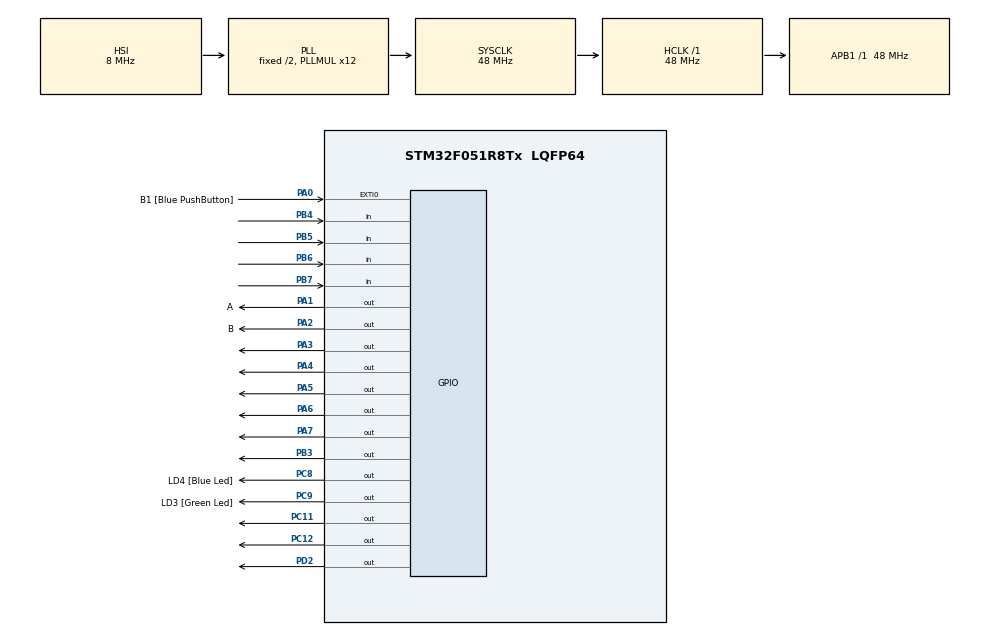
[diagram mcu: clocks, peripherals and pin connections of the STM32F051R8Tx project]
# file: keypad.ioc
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Mcu.Family=STM32F0
Mcu.Name=STM32F051R8Tx
Mcu.Package=LQFP64
PA0.GPIO_Label=B1 [Blue PushButton]
PA0.GPIO_ModeDefaultEXTI=GPIO_MODE_EVT_RISING
PA0.Signal=GPXTI0
PA1.GPIO_Label=A
PA1.PinState=GPIO_PIN_RESET
PA1.Signal=GPIO_Output
PA13.GPIO_Label=SWDIO
PA13.Signal=SYS_SWDIO
PA14.GPIO_Label=SWCLK
PA14.Signal=SYS_SWCLK
PA2.GPIO_Label=B
PA2.PinState=GPIO_PIN_RESET
PA2.Signal=GPIO_Output
PA3.PinState=GPIO_PIN_RESET
PA3.Signal=GPIO_Output
PA4.PinState=GPIO_PIN_RESET
PA4.Signal=GPIO_Output
PA5.PinState=GPIO_PIN_RESET
PA5.Signal=GPIO_Output
PA6.PinState=GPIO_PIN_RESET
PA6.Signal=GPIO_Output
PA7.PinState=GPIO_PIN_RESET
PA7.Signal=GPIO_Output
PB3.GPIO_PuPd=GPIO_PULLUP
PB3.Signal=GPIO_Output
PB4.GPIO_PuPd=GPIO_PULLUP
PB4.Signal=GPIO_Input
PB5.GPIO_PuPd=GPIO_PULLUP
PB5.Signal=GPIO_Input
PB6.GPIO_PuPd=GPIO_PULLUP
PB6.Signal=GPIO_Input
PB7.GPIO_PuPd=GPIO_PULLUP
PB7.Signal=GPIO_Input
PC11.GPIO_PuPd=GPIO_PULLUP
PC11.Signal=GPIO_Output
PC12.GPIO_PuPd=GPIO_PULLUP
PC12.Signal=GPIO_Output
PC8.GPIO_Label=LD4 [Blue Led]
PC8.Signal=GPIO_Output
PC9.GPIO_Label=LD3 [Green Led]
PC9.Signal=GPIO_Output
PD2.GPIO_PuPd=GPIO_PULLUP
PD2.Signal=GPIO_Output
ProjectManager.HeapSize=0x200
ProjectManager.StackSize=0x400
ProjectManager.TargetToolchain=STM32CubeIDE
RCC.AHBFreq_Value=48000000
RCC.APB1Freq_Value=48000000
RCC.APB1TimFreq_Value=48000000
RCC.HCLKFreq_Value=48000000
RCC.PLLMUL=RCC_PLL_MUL12
RCC.SYSCLKFreq_VALUE=48000000
RCC.SYSCLKSource=RCC_SYSCLKSOURCE_PLLCLK
board=STM32F0DISCOVERY

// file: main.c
/* USER CODE BEGIN Header */
/**
  ******************************************************************************
  * @file           : main.c
  * @brief          : Main program body
  ******************************************************************************
  * @attention
  *
  * Copyright (c) 2023 STMicroelectronics.
  * All rights reserved.
  *
  * This software is licensed under terms that can be found in the LICENSE file
  * in the root directory of this software component.
  * If no LICENSE file comes with this software, it is provided AS-IS.
  *
  ******************************************************************************
  */
/* USER CODE END Header */
#include "main.h"

void SystemClock_Config(void);
static void MX_GPIO_Init(void);

int main(void)
{
  /* USER CODE BEGIN 1 */
//int c=0;
	int c;
  /* USER CODE END 1 */

  /* MCU Configuration--------------------------------------------------------*/

  /* Reset of all peripherals, Initializes the Flash interface and the Systick. */
  HAL_Init();

  /* Configure the system clock */
  SystemClock_Config();

  /* Initialize all configured peripherals */
  MX_GPIO_Init();

  /* Infinite loop */
  while (1)
  {

    /* USER CODE BEGIN 3 */

	////   0
	  HAL_GPIO_WritePin(GPIOB, GPIO_PIN_3, GPIO_PIN_RESET);

	 if(HAL_GPIO_ReadPin(GPIOB, GPIO_PIN_7)==0) {
		c=1;
	  }
	 else if(HAL_GPIO_ReadPin(GPIOB, GPIO_PIN_6)==0) {
			c=4;
		  }
	 else if(HAL_GPIO_ReadPin(GPIOB, GPIO_PIN_5)==0) {
			c=7;
		  }
	/*if(HAL_GPIO_ReadPin(GPIOB, GPIO_Pin_4)==0) {
			c=1;
		  }*/
	HAL_GPIO_WritePin(GPIOB, GPIO_PIN_3, GPIO_PIN_SET);

	  HAL_GPIO_WritePin(GPIOD, GPIO_PIN_2, GPIO_PIN_RESET);
		 if(HAL_GPIO_ReadPin(GPIOB, GPIO_PIN_7)==0) {
			c=2;
		  }
		if(HAL_GPIO_ReadPin(GPIOB, GPIO_PIN_6)==0) {
				c=5;
			  }
		else if(HAL_GPIO_ReadPin(GPIOB, GPIO_PIN_5)==0) {
				c=8;
			  }
		else if(HAL_GPIO_ReadPin(GPIOB, GPIO_PIN_4)==0) {
				c=0;
			  }
		HAL_GPIO_WritePin(GPIOD, GPIO_PIN_2, GPIO_PIN_SET);

	  HAL_GPIO_WritePin(GPIOC, GPIO_PIN_12, GPIO_PIN_RESET);
	  if(HAL_GPIO_ReadPin(GPIOB, GPIO_PIN_7)==0) {
	 			c=3;
	 		  }
	  else if(HAL_GPIO_ReadPin(GPIOB, GPIO_PIN_6)==0) {
	 				c=6;
	 			  }
	  else if(HAL_GPIO_ReadPin(GPIOB, GPIO_PIN_5)==0) {
	 				c=9;
	 			  }
	 		/*if(HAL_GPIO_ReadPin(GPIOB, GPIO_Pin_4)==0) {
	 				c=0;
	 			  }*/
	 		HAL_GPIO_WritePin(GPIOC, GPIO_PIN_12, GPIO_PIN_SET);
/*	if(c>9){
		c=0;
	}*/
	switch(c){
	case 0:

    HAL_GPIO_WritePin(GPIOA, GPIO_PIN_1, GPIO_PIN_SET);
    HAL_GPIO_WritePin(GPIOA, GPIO_PIN_2, GPIO_PIN_SET);
    HAL_GPIO_WritePin(GPIOA, GPIO_PIN_3, GPIO_PIN_SET);
    HAL_GPIO_WritePin(GPIOA, GPIO_PIN_4, GPIO_PIN_SET);
    HAL_GPIO_WritePin(GPIOA, GPIO_PIN_5, GPIO_PIN_SET);
    HAL_GPIO_WritePin(GPIOA, GPIO_PIN_6, GPIO_PIN_SET);
    HAL_GPIO_WritePin(GPIOA, GPIO_PIN_7, GPIO_PIN_RESET);

    break;
    //////  1
  //
	case 1:
	   HAL_GPIO_WritePin(GPIOA, GPIO_PIN_1, GPIO_PIN_RESET);
       HAL_GPIO_WritePin(GPIOA, GPIO_PIN_2, GPIO_PIN_SET);
       HAL_GPIO_WritePin(GPIOA, GPIO_PIN_3, GPIO_PIN_SET);
       HAL_GPIO_WritePin(GPIOA, GPIO_PIN_4, GPIO_PIN_RESET);
       HAL_GPIO_WritePin(GPIOA, GPIO_PIN_5, GPIO_PIN_RESET);
       HAL_GPIO_WritePin(GPIOA, GPIO_PIN_6, GPIO_PIN_RESET);
       HAL_GPIO_WritePin(GPIOA, GPIO_PIN_7, GPIO_PIN_RESET);

       break;
       ///////   2
	case 2:

       HAL_GPIO_WritePin(GPIOA, GPIO_PIN_1, GPIO_PIN_SET);
          HAL_GPIO_WritePin(GPIOA, GPIO_PIN_2, GPIO_PIN_SET);
      HAL_GPIO_WritePin(GPIOA, GPIO_PIN_3, GPIO_PIN_RESET);
          HAL_GPIO_WritePin(GPIOA, GPIO_PIN_4, GPIO_PIN_SET);
          HAL_GPIO_WritePin(GPIOA, GPIO_PIN_5, GPIO_PIN_SET);
        HAL_GPIO_WritePin(GPIOA, GPIO_PIN_6, GPIO_PIN_RESET);
          HAL_GPIO_WritePin(GPIOA, GPIO_PIN_7, GPIO_PIN_SET);

          break;
          //////          3
	case 3:
          HAL_GPIO_WritePin(GPIOA, GPIO_PIN_1, GPIO_PIN_SET);
                   HAL_GPIO_WritePin(GPIOA, GPIO_PIN_2, GPIO_PIN_SET);
                  HAL_GPIO_WritePin(GPIOA, GPIO_PIN_3, GPIO_PIN_SET);
                   HAL_GPIO_WritePin(GPIOA, GPIO_PIN_4, GPIO_PIN_SET);
                  HAL_GPIO_WritePin(GPIOA, GPIO_PIN_5, GPIO_PIN_RESET);
                 HAL_GPIO_WritePin(GPIOA, GPIO_PIN_6, GPIO_PIN_RESET);
                   HAL_GPIO_WritePin(GPIOA, GPIO_PIN_7, GPIO_PIN_SET);

                   break;
    //HAL_GPIO_WritePin(GPIOA, GPIO_PIN_7, GPIO_PIN_SET);
   // HAL_GPIO_WritePin(GPIOA, GPIO_PIN, GPIO_PIN_RESET);
        /////     4
		//HAL_GPIO_WritePin(GPIOA, GPIO_PIN_1, GPIO_PIN_SET);
	case 4:
		HAL_GPIO_WritePin(GPIOA, GPIO_PIN_1, GPIO_PIN_RESET);
		HAL_GPIO_WritePin(GPIOA, GPIO_PIN_2, GPIO_PIN_SET);
        HAL_GPIO_WritePin(GPIOA, GPIO_PIN_3, GPIO_PIN_SET);
	    HAL_GPIO_WritePin(GPIOA, GPIO_PIN_4, GPIO_PIN_RESET);
		HAL_GPIO_WritePin(GPIOA, GPIO_PIN_5, GPIO_PIN_RESET);
	    HAL_GPIO_WritePin(GPIOA, GPIO_PIN_6, GPIO_PIN_SET);
		HAL_GPIO_WritePin(GPIOA, GPIO_PIN_7, GPIO_PIN_SET);

        break;
	case 5:
		HAL_GPIO_WritePin(GPIOA, GPIO_PIN_1, GPIO_PIN_SET);
		HAL_GPIO_WritePin(GPIOA, GPIO_PIN_2, GPIO_PIN_RESET);
		HAL_GPIO_WritePin(GPIOA, GPIO_PIN_3, GPIO_PIN_SET);
		HAL_GPIO_WritePin(GPIOA, GPIO_PIN_4, GPIO_PIN_SET);
		HAL_GPIO_WritePin(GPIOA, GPIO_PIN_5, GPIO_PIN_RESET);
		HAL_GPIO_WritePin(GPIOA, GPIO_PIN_6, GPIO_PIN_SET);
		HAL_GPIO_WritePin(GPIOA, GPIO_PIN_7, GPIO_PIN_SET);

		break;
	case 6:
			HAL_GPIO_WritePin(GPIOA, GPIO_PIN_1, GPIO_PIN_SET);
			HAL_GPIO_WritePin(GPIOA, GPIO_PIN_2, GPIO_PIN_RESET);
			HAL_GPIO_WritePin(GPIOA, GPIO_PIN_3, GPIO_PIN_SET);
			HAL_GPIO_WritePin(GPIOA, GPIO_PIN_4, GPIO_PIN_SET);
			HAL_GPIO_WritePin(GPIOA, GPIO_PIN_5, GPIO_PIN_SET);
			HAL_GPIO_WritePin(GPIOA, GPIO_PIN_6, GPIO_PIN_SET);
			HAL_GPIO_WritePin(GPIOA, GPIO_PIN_7, GPIO_PIN_SET);

			break;

	case 7:
		HAL_GPIO_WritePin(GPIOA, GPIO_PIN_1, GPIO_PIN_SET);
		HAL_GPIO_WritePin(GPIOA, GPIO_PIN_2, GPIO_PIN_SET);
		HAL_GPIO_WritePin(GPIOA, GPIO_PIN_3, GPIO_PIN_SET);
		HAL_GPIO_WritePin(GPIOA, GPIO_PIN_4, GPIO_PIN_RESET);
		HAL_GPIO_WritePin(GPIOA, GPIO_PIN_5, GPIO_PIN_RESET);
		HAL_GPIO_WritePin(GPIOA, GPIO_PIN_6, GPIO_PIN_RESET);
		HAL_GPIO_WritePin(GPIOA, GPIO_PIN_7, GPIO_PIN_RESET);

		break;
	case 8:
		HAL_GPIO_WritePin(GPIOA, GPIO_PIN_1, GPIO_PIN_SET);
		HAL_GPIO_WritePin(GPIOA, GPIO_PIN_2, GPIO_PIN_SET);
		HAL_GPIO_WritePin(GPIOA, GPIO_PIN_3, GPIO_PIN_SET);
		HAL_GPIO_WritePin(GPIOA, GPIO_PIN_4, GPIO_PIN_SET);
		HAL_GPIO_WritePin(GPIOA, GPIO_PIN_5, GPIO_PIN_SET);
		HAL_GPIO_WritePin(GPIOA, GPIO_PIN_6, GPIO_PIN_SET);
		HAL_GPIO_WritePin(GPIOA, GPIO_PIN_7, GPIO_PIN_SET);

		break;
	case 9:
		HAL_GPIO_WritePin(GPIOA, GPIO_PIN_1, GPIO_PIN_SET);
		HAL_GPIO_WritePin(GPIOA, GPIO_PIN_2, GPIO_PIN_SET);
		HAL_GPIO_WritePin(GPIOA, GPIO_PIN_3, GPIO_PIN_SET);
		HAL_GPIO_WritePin(GPIOA, GPIO_PIN_4, GPIO_PIN_SET);
		HAL_GPIO_WritePin(GPIOA, GPIO_PIN_5, GPIO_PIN_RESET);
		HAL_GPIO_WritePin(GPIOA, GPIO_PIN_6, GPIO_PIN_SET);
		HAL_GPIO_WritePin(GPIOA, GPIO_PIN_7, GPIO_PIN_SET);

		break;
	}
  //  c++;
	//HAL_Delay(1000);
  }
  /* USER CODE END 3 */
}

void SystemClock_Config(void)
{
  RCC_OscInitTypeDef RCC_OscInitStruct = {0};
  RCC_ClkInitTypeDef RCC_ClkInitStruct = {0};

  /** Initializes the RCC Oscillators according to the specified parameters
  * in the RCC_OscInitTypeDef structure.
  */
  RCC_OscInitStruct.OscillatorType = RCC_OSCILLATORTYPE_HSI;
  RCC_OscInitStruct.HSIState = RCC_HSI_ON;
  RCC_OscInitStruct.HSICalibrationValue = RCC_HSICALIBRATION_DEFAULT;
  RCC_OscInitStruct.PLL.PLLState = RCC_PLL_ON;
  RCC_OscInitStruct.PLL.PLLSource = RCC_PLLSOURCE_HSI;
  RCC_OscInitStruct.PLL.PLLMUL = RCC_PLL_MUL12;
  RCC_OscInitStruct.PLL.PREDIV = RCC_PREDIV_DIV1;
  if (HAL_RCC_OscConfig(&RCC_OscInitStruct) != HAL_OK)
  {
    Error_Handler();
  }

  /** Initializes the CPU, AHB and APB buses clocks
  */
  RCC_ClkInitStruct.ClockType = RCC_CLOCKTYPE_HCLK|RCC_CLOCKTYPE_SYSCLK
                              |RCC_CLOCKTYPE_PCLK1;
  RCC_ClkInitStruct.SYSCLKSource = RCC_SYSCLKSOURCE_PLLCLK;
  RCC_ClkInitStruct.AHBCLKDivider = RCC_SYSCLK_DIV1;
  RCC_ClkInitStruct.APB1CLKDivider = RCC_HCLK_DIV1;

  if (HAL_RCC_ClockConfig(&RCC_ClkInitStruct, FLASH_LATENCY_1) != HAL_OK)
  {
    Error_Handler();
  }
}

static void MX_GPIO_Init(void)
{
  GPIO_InitTypeDef GPIO_InitStruct = {0};

  /* GPIO Ports Clock Enable */
  __HAL_RCC_GPIOA_CLK_ENABLE();
  __HAL_RCC_GPIOC_CLK_ENABLE();
  __HAL_RCC_GPIOD_CLK_ENABLE();
  __HAL_RCC_GPIOB_CLK_ENABLE();

  /*Configure GPIO pin Output Level */
  HAL_GPIO_WritePin(GPIOA, A_Pin|B_Pin|GPIO_PIN_3|GPIO_PIN_4
                          |GPIO_PIN_5|GPIO_PIN_6|GPIO_PIN_7, GPIO_PIN_RESET);

  /*Configure GPIO pin Output Level */
  HAL_GPIO_WritePin(GPIOC, LD4_Pin|LD3_Pin|GPIO_PIN_11|GPIO_PIN_12, GPIO_PIN_RESET);

  /*Configure GPIO pin Output Level */
  HAL_GPIO_WritePin(GPIOD, GPIO_PIN_2, GPIO_PIN_RESET);

  /*Configure GPIO pin Output Level */
  HAL_GPIO_WritePin(GPIOB, GPIO_PIN_3, GPIO_PIN_RESET);

  /*Configure GPIO pin : B1_Pin */
  GPIO_InitStruct.Pin = B1_Pin;
  GPIO_InitStruct.Mode = GPIO_MODE_EVT_RISING;
  GPIO_InitStruct.Pull = GPIO_NOPULL;
  HAL_GPIO_Init(B1_GPIO_Port, &GPIO_InitStruct);

  /*Configure GPIO pins : A_Pin B_Pin PA3 PA4
                           PA5 PA6 PA7 */
  GPIO_InitStruct.Pin = A_Pin|B_Pin|GPIO_PIN_3|GPIO_PIN_4
                          |GPIO_PIN_5|GPIO_PIN_6|GPIO_PIN_7;
  GPIO_InitStruct.Mode = GPIO_MODE_OUTPUT_PP;
  GPIO_InitStruct.Pull = GPIO_NOPULL;
  GPIO_InitStruct.Speed = GPIO_SPEED_FREQ_LOW;
  HAL_GPIO_Init(GPIOA, &GPIO_InitStruct);

  /*Configure GPIO pins : LD4_Pin LD3_Pin */
  GPIO_InitStruct.Pin = LD4_Pin|LD3_Pin;
  GPIO_InitStruct.Mode = GPIO_MODE_OUTPUT_PP;
  GPIO_InitStruct.Pull = GPIO_NOPULL;
  GPIO_InitStruct.Speed = GPIO_SPEED_FREQ_LOW;
  HAL_GPIO_Init(GPIOC, &GPIO_InitStruct);

  /*Configure GPIO pins : PC11 PC12 */
  GPIO_InitStruct.Pin = GPIO_PIN_11|GPIO_PIN_12;
  GPIO_InitStruct.Mode = GPIO_MODE_OUTPUT_PP;
  GPIO_InitStruct.Pull = GPIO_PULLUP;
  GPIO_InitStruct.Speed = GPIO_SPEED_FREQ_LOW;
  HAL_GPIO_Init(GPIOC, &GPIO_InitStruct);

  /*Configure GPIO pin : PD2 */
  GPIO_InitStruct.Pin = GPIO_PIN_2;
  GPIO_InitStruct.Mode = GPIO_MODE_OUTPUT_PP;
  GPIO_InitStruct.Pull = GPIO_PULLUP;
  GPIO_InitStruct.Speed = GPIO_SPEED_FREQ_LOW;
  HAL_GPIO_Init(GPIOD, &GPIO_InitStruct);

  /*Configure GPIO pin : PB3 */
  GPIO_InitStruct.Pin = GPIO_PIN_3;
  GPIO_InitStruct.Mode = GPIO_MODE_OUTPUT_PP;
  GPIO_InitStruct.Pull = GPIO_PULLUP;
  GPIO_InitStruct.Speed = GPIO_SPEED_FREQ_LOW;
  HAL_GPIO_Init(GPIOB, &GPIO_InitStruct);

  /*Configure GPIO pins : PB4 PB5 PB6 PB7 */
  GPIO_InitStruct.Pin = GPIO_PIN_4|GPIO_PIN_5|GPIO_PIN_6|GPIO_PIN_7;
  GPIO_InitStruct.Mode = GPIO_MODE_INPUT;
  GPIO_InitStruct.Pull = GPIO_PULLUP;
  HAL_GPIO_Init(GPIOB, &GPIO_InitStruct);

}

void Error_Handler(void)
{
  __disable_irq();
  while (1)
  {
  }
}
